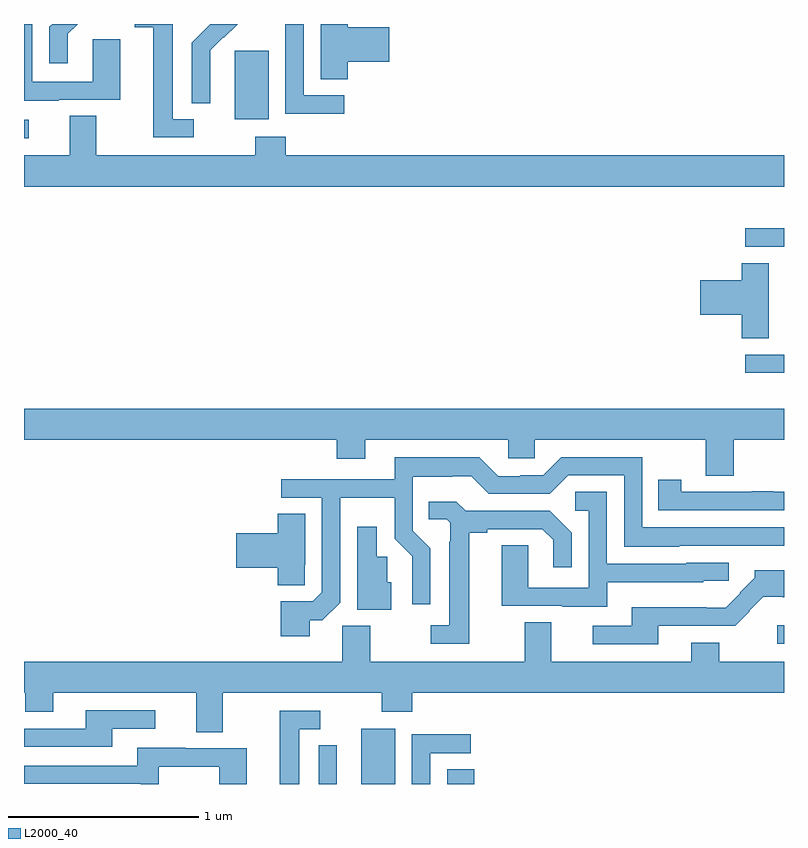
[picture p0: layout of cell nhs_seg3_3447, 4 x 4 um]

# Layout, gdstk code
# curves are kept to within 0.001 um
import gdstk
lib = gdstk.Library(unit=1e-6, precision=1e-09)
def R(c, l, rs):  # rectangles x0, y0, x1, y1
    for r in rs: c.add(gdstk.rectangle(r[:2], r[2:], *l))
def P(c, l, *ps):  # polygons
    for p in ps: c.add(gdstk.Polygon(p, *l))
L2000_40 = (2000, 40)

nhs_seg3_3447 = lib.new_cell('nhs_seg3_3447')
R(nhs_seg3_3447, L2000_40, [(290.774,736.4,290.953,736.69), (291.227,736.4,291.371,736.478), (292.965,737.139,293,737.236), (292.797,738.564,293,738.66), (292.797,739.227,293,739.326), (289,739.8,289.024,739.896), (290.108,739.898,290.287,740.259)])
P(nhs_seg3_3447, L2000_40, [(290.705,740.201),(290.923,740.201),(290.923,740.384),(290.705,740.384),(290.705,740.4),(290.561,740.4),(290.561,740.11),(290.705,740.11)],
  [(289.183,740.001),(289.507,740.001),(289.507,740.321),(289.362,740.321),(289.362,740.097),(289.044,740.097),(289.044,740.4),(289,740.4),(289,739.997),(289.183,739.997)],
  [(289.894,739.899),(289.783,739.899),(289.783,740.4),(289.583,740.4),(289.583,740.384),(289.679,740.384),(289.679,739.803),(289.894,739.803)],
  [(289.231,740.349),(289.282,740.4),(289.148,740.4),(289.134,740.386),(289.134,740.193),(289.231,740.193)],
  [(289.98,740.138),(289.979,740.138),(289.979,740.261),(290.049,740.331),(290.052,740.328),(290.124,740.4),(289.98,740.4),(289.956,740.376),(289.957,740.375),(289.884,740.302),(289.884,739.984),(289.98,739.984)],
  [(290.686,740.025),(290.472,740.025),(290.472,740.4),(290.374,740.4),(290.374,740.356),(290.376,740.356),(290.376,739.927),(290.686,739.927)],
  [(293,739.708),(290.378,739.708),(290.378,739.807),(290.218,739.807),(290.218,739.708),(289.381,739.708),(289.381,739.916),(289.241,739.916),(289.241,739.708),(289,739.708),(289,739.544),(293,739.544)],
  [(292.921,739.142),(292.778,739.142),(292.778,739.052),(292.56,739.052),(292.56,738.869),(292.778,738.869),(292.778,738.745),(292.921,738.745)],
  [(292.735,738.212),(293,738.212),(293,738.376),(289,738.376),(289,738.212),(290.645,738.212),(290.645,738.113),(290.797,738.113),(290.797,738.212),(291.549,738.212),(291.549,738.114),(291.687,738.114),(291.687,738.212),(292.588,738.212),(292.588,738.022),(292.735,738.022)],
  [(290.503,737.263),(290.571,737.263),(290.664,737.355),(290.664,737.906),(290.952,737.906),(290.952,737.69),(291.044,737.598),(291.044,737.346),(291.138,737.346),(291.138,737.64),(291.045,737.733),(291.045,738.017),(291.254,738.017),(291.254,738.021),(291.354,738.021),(291.447,737.928),(291.768,737.928),(291.864,738.024),(292.158,738.024),(292.158,737.648),(292.449,737.648),(292.449,737.655),(293,737.654),(293,737.751),(292.254,737.751),(292.254,738.12),(291.828,738.12),(291.732,738.024),(291.612,738.024),(291.612,738.021),(291.495,738.021),(291.395,738.121),(290.951,738.121),(290.951,738.003),(290.355,738.003),(290.355,737.907),(290.568,737.907),(290.568,737.409),(290.52,737.361),(290.351,737.361),(290.351,737.178),(290.503,737.178)],
  [(293,737.937),(292.943,737.937),(292.943,737.942),(292.831,737.942),(292.831,737.937),(292.458,737.937),(292.458,738.001),(292.339,738.001),(292.339,737.841),(293,737.841)],
  [(292.069,737.462),(292.575,737.462),(292.575,737.469),(292.71,737.469),(292.71,737.565),(292.485,737.565),(292.485,737.559),(292.068,737.559),(292.068,737.939),(291.9,737.939),(291.9,737.838),(291.972,737.838),(291.972,737.433),(291.654,737.433),(291.654,737.657),(291.515,737.657),(291.515,737.337),(291.833,737.337),(291.833,737.333),(292.069,737.333)],
  [(291.343,737.722),(291.439,737.722),(291.439,737.742),(291.728,737.742),(291.785,737.685),(291.785,737.541),(291.882,737.541),(291.882,737.722),(291.766,737.838),(291.324,737.838),(291.276,737.885),(291.13,737.885),(291.13,737.793),(291.225,737.793),(291.243,737.775),(291.243,737.675),(291.239,737.675),(291.239,737.235),(291.141,737.235),(291.141,737.139),(291.343,737.139)],
  [(290.478,737.554),(290.479,737.554),(290.479,737.822),(290.336,737.822),(290.336,737.72),(290.118,737.72),(290.118,737.537),(290.336,737.537),(290.336,737.446),(290.478,737.446)],
  [(290.932,737.463),(290.913,737.463),(290.913,737.595),(290.857,737.595),(290.857,737.755),(290.753,737.755),(290.753,737.318),(290.932,737.318)],
  [(292.339,737.232),(292.743,737.232),(292.819,737.309),(292.817,737.311),(292.891,737.385),(293,737.384),(293,737.524),(292.846,737.524),(292.846,737.485),(292.767,737.406),(292.77,737.403),(292.694,737.327),(292.592,737.327),(292.592,737.329),(292.199,737.329),(292.199,737.232),(291.993,737.232),(291.993,737.136),(292.339,737.136)],
  [(290.047,736.88),(290.884,736.88),(290.884,736.781),(291.044,736.781),(291.044,736.88),(293,736.88),(293,737.044),(292.659,737.044),(292.659,737.143),(292.511,737.143),(292.511,737.044),(291.775,737.044),(291.775,737.252),(291.635,737.252),(291.635,737.044),(290.823,737.044),(290.823,737.233),(290.676,737.233),(290.676,737.044),(289,737.044),(289,736.88),(289.006,736.88),(289.006,736.781),(289.153,736.781),(289.153,736.88),(289.907,736.88),(289.907,736.672),(290.047,736.672)],
  [(289.465,736.692),(289.69,736.692),(289.69,736.788),(289.325,736.788),(289.325,736.692),(289,736.692),(289,736.596),(289.465,736.596)],
  [(290.449,736.689),(290.56,736.689),(290.56,736.785),(290.345,736.785),(290.345,736.4),(290.449,736.4)],
  [(291.138,736.563),(291.352,736.563),(291.352,736.662),(291.042,736.662),(291.042,736.4),(291.138,736.4)],
  [(290.645,736.45),(290.646,736.45),(290.646,736.604),(290.55,736.604),(290.55,736.4),(290.645,736.4)],
  [(289.71,736.491),(290.028,736.491),(290.028,736.4),(290.173,736.4),(290.173,736.587),(289.849,736.587),(289.849,736.591),(289.595,736.591),(289.595,736.497),(289,736.497),(289,736.401),(289.614,736.401),(289.614,736.4),(289.71,736.4)])

lib.write_gds('nhs_seg3_3447.gds')
